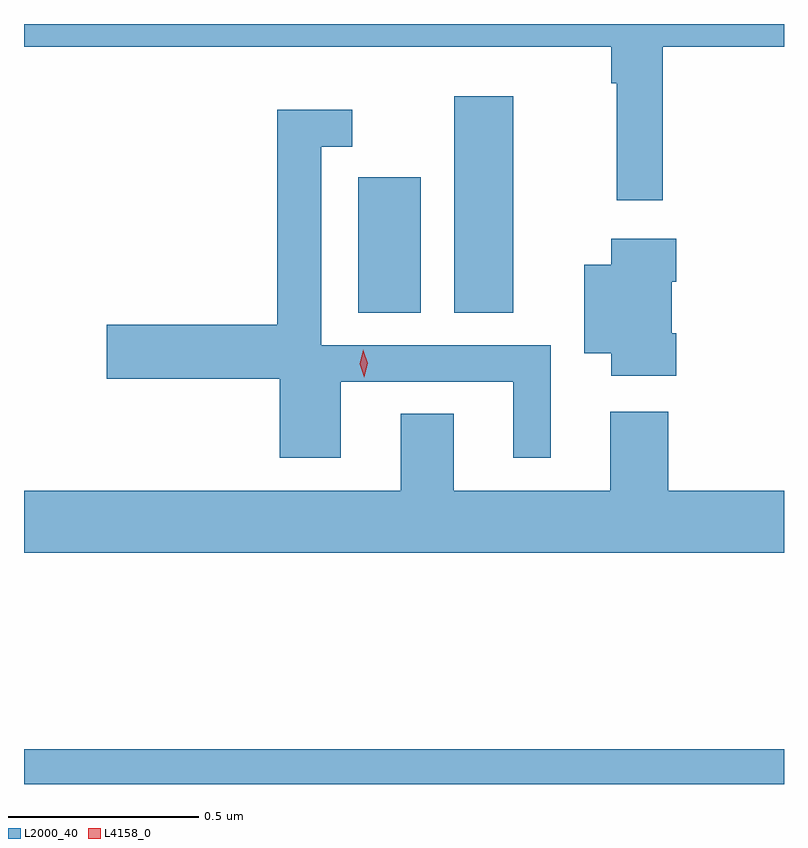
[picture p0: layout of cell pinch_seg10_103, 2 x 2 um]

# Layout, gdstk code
import gdstk
lib = gdstk.Library(unit=1e-6, precision=1e-09)
def R(c, l, rs):  # rectangles x0, y0, x1, y1
    for r in rs: c.add(gdstk.rectangle(r[:2], r[2:], *l))
def P(c, l, *ps):  # polygons
    for p in ps: c.add(gdstk.Polygon(p, *l))
L2000_40 = (2000, 40)
L4158_0 = (4158, 0)

pinch_seg10_103 = lib.new_cell('pinch_seg10_103')
R(pinch_seg10_103, L2000_40, [(713.014,1295.712,715.014,1295.804), (713.894,1296.952,714.058,1297.309), (714.146,1296.952,714.301,1297.522)])
P(pinch_seg10_103, L2000_40, [(714.695,1297.652),(715.014,1297.652),(715.014,1297.712),(713.014,1297.712),(713.014,1297.652),(714.559,1297.652),(714.559,1297.556),(714.574,1297.556),(714.574,1297.248),(714.695,1297.248)],
  [(713.848,1296.771),(714.302,1296.771),(714.302,1296.57),(714.4,1296.57),(714.4,1296.867),(713.796,1296.867),(713.796,1297.389),(713.878,1297.389),(713.878,1297.486),(713.68,1297.486),(713.68,1296.92),(713.232,1296.92),(713.232,1296.778),(713.687,1296.778),(713.687,1296.57),(713.848,1296.57)],
  [(714.731,1296.898),(714.718,1296.898),(714.718,1297.034),(714.731,1297.034),(714.731,1297.147),(714.56,1297.147),(714.56,1297.078),(714.488,1297.078),(714.488,1296.845),(714.56,1296.845),(714.56,1296.786),(714.731,1296.786)],
  [(715.014,1296.484),(714.71,1296.484),(714.71,1296.691),(714.557,1296.691),(714.557,1296.484),(714.145,1296.484),(714.145,1296.686),(714.005,1296.686),(714.005,1296.484),(713.014,1296.484),(713.014,1296.32),(715.014,1296.32)])
P(pinch_seg10_103, L4158_0, [(713.909,1296.782),(713.898,1296.818),(713.907,1296.854),(713.907,1296.855),(713.907,1296.854),(713.918,1296.819),(713.91,1296.782),(713.91,1296.782)])

lib.write_gds('pinch_seg10_103.gds')
